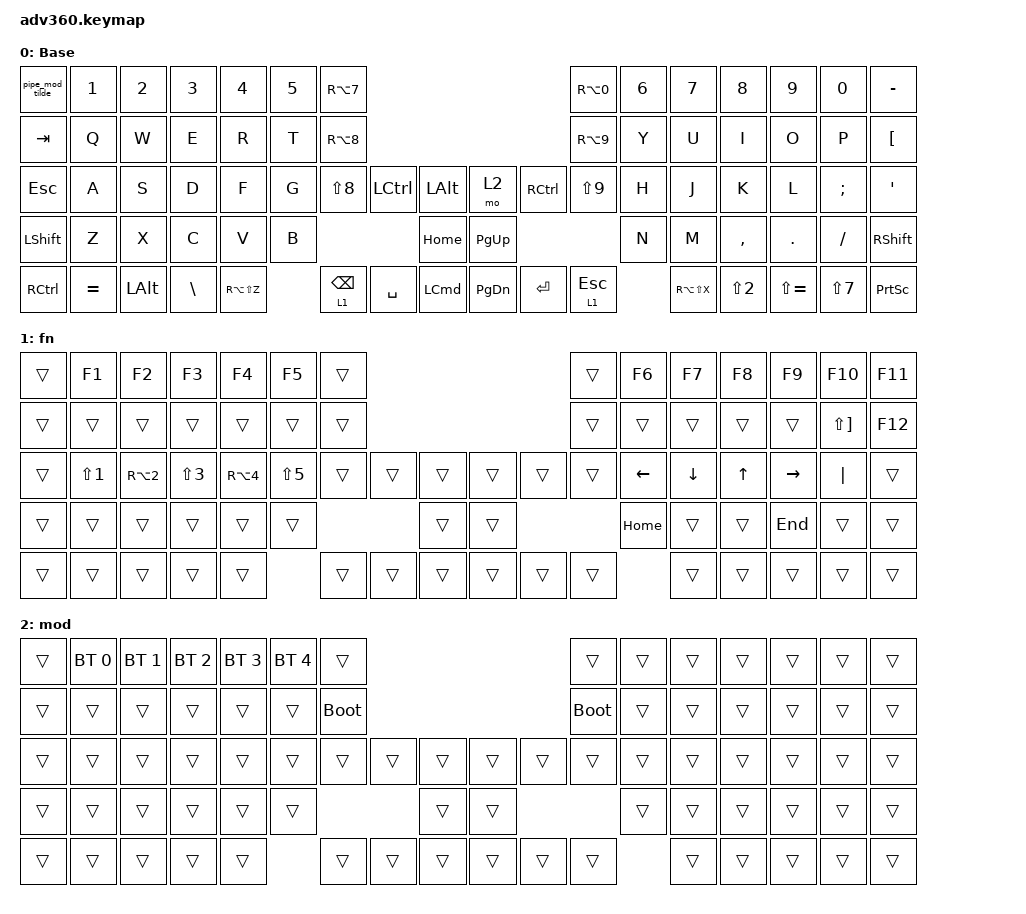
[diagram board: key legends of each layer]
#include <dt-bindings/zmk/stp.h>
#include <behaviors.dtsi>
#include <dt-bindings/zmk/bt.h>
#include <dt-bindings/zmk/keys.h>

/ {
    behaviors {
        #include "macros.dtsi"
      #include "version.dtsi"

        hm: homerow_mods {
            compatible = "zmk,behavior-hold-tap";
            label = "HOMEROW_MODS";
            #binding-cells = <2>;
            tapping-term-ms = <200>;
            quick_tap_ms = <175>;
            flavor = "tap-preferred";
            bindings = <&kp>, <&kp>;
        };

        pipe_mod_tilde: pipe_mod_tilde {
            compatible = "zmk,behavior-mod-morph";
            label = "PIPE_MOD_TILDE";
            bindings = <&kp GRAVE>, <&kp RA(RIGHT_BRACKET)>;

            #binding-cells = <0>;
            mods = <(MOD_LSFT|MOD_RSFT)>;
        };
    };

    combos {
        compatible = "zmk,combos";

        multiply {
            bindings = <&kp PIPE>;
            key-positions = <42 56>;
        };

        add {
            bindings = <&kp MINUS>;
            key-positions = <41 55>;
        };

        enter {
            bindings = <&kp ENTER>;
            key-positions = <30 31 32>;
        };

        delete {
            bindings = <&kp DELETE>;
            key-positions = <18 19>;
        };
    };

    keymap {
        compatible = "zmk,keymap";

        default_layer {
            display-name = "Base";
            bindings = <
&pipe_mod_tilde  &kp NUMBER_1  &kp NUMBER_2  &kp NUMBER_3   &kp NUMBER_4   &kp N5  &kp RA(N7)                                                      &kp RA(N0)  &kp NUMBER_6  &kp N7         &kp N8            &kp N9         &kp N0      &kp MINUS
&kp TAB          &kp Q         &kp W         &kp E          &kp R          &kp T   &kp RA(N8)                                                      &kp RA(N9)  &kp Y         &kp U          &kp I             &kp O          &kp P       &kp LEFT_BRACKET
&kp ESC          &kp A         &kp S         &kp D          &kp F          &kp G   &kp LS(N8)       &kp LCTRL  &kp LALT      &mo 2      &kp RCTRL  &kp LS(N9)  &kp H         &kp J          &kp K             &kp L          &kp SEMI    &kp SQT
&kp LSHFT        &kp Z         &kp X         &kp C          &kp V          &kp B                               &kp HOME      &kp PG_UP                         &kp N         &kp M          &kp COMMA         &kp DOT        &kp FSLH    &kp RSHFT
&kp RCTRL        &kp EQUAL     &kp LEFT_ALT  &kp BACKSLASH  &kp RA(LS(Z))          &lt 1 BACKSPACE  &kp SPACE  &kp LCMD      &kp PG_DN  &kp ENTER  &lt 1 ESC                 &kp RA(LS(X))  &kp LS(NUMBER_2)  &kp LS(EQUAL)  &kp LS(N7)  &kp PRINTSCREEN
            >;
        };

        fn {
            bindings = <
&trans  &kp F1            &kp F2            &kp F3            &kp F4            &kp F5      &trans                                      &trans  &kp F6          &kp F7    &kp F8        &kp F9     &kp F10                &kp F11
&trans  &trans            &trans            &trans            &trans            &trans      &trans                                      &trans  &trans          &trans    &trans        &trans     &kp LS(RIGHT_BRACKET)  &kp F12
&trans  &kp LS(NUMBER_1)  &kp RA(NUMBER_2)  &kp LS(NUMBER_3)  &kp RA(NUMBER_4)  &kp LS(N5)  &trans  &trans  &trans      &trans  &trans  &trans  &kp LEFT_ARROW  &kp DOWN  &kp UP_ARROW  &kp RIGHT  &kp PIPE               &trans
&trans  &trans            &trans            &trans            &trans            &trans                      &trans      &trans                  &kp HOME        &trans    &trans        &kp END    &trans                 &trans
&trans  &trans            &trans            &trans            &trans                        &trans  &trans  &trans      &trans  &trans  &trans                  &trans    &trans        &trans     &trans                 &trans
            >;
        };

        mod {
            bindings = <
&trans  &bt BT_SEL 0  &bt BT_SEL 1  &bt BT_SEL 2  &bt BT_SEL 3  &bt BT_SEL 4  &trans                                           &trans       &trans  &trans  &trans  &trans  &trans  &trans
&trans  &trans        &trans        &trans        &trans        &trans        &bootloader                                      &bootloader  &trans  &trans  &trans  &trans  &trans  &trans
&trans  &trans        &trans        &trans        &trans        &trans        &trans       &trans  &trans      &trans  &trans  &trans       &trans  &trans  &trans  &trans  &trans  &trans
&trans  &trans        &trans        &trans        &trans        &trans                             &trans      &trans                       &trans  &trans  &trans  &trans  &trans  &trans
&trans  &trans        &trans        &trans        &trans                      &trans       &trans  &trans      &trans  &trans  &trans               &trans  &trans  &trans  &trans  &trans
            >;
        };
    };
};
